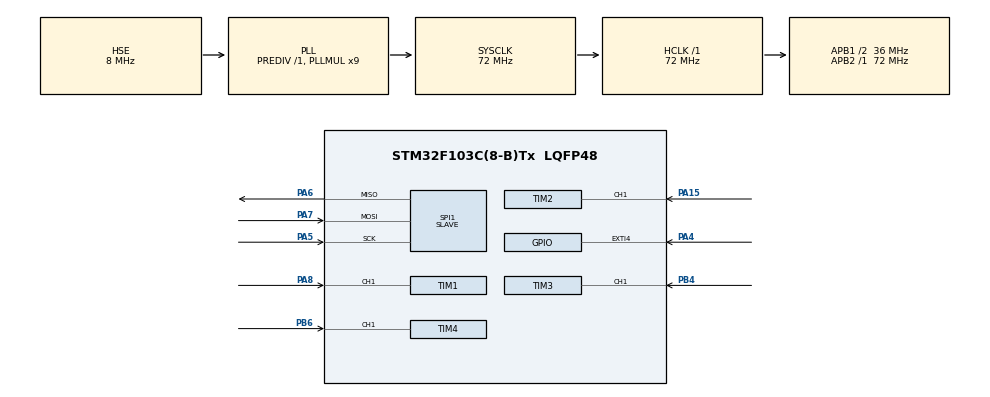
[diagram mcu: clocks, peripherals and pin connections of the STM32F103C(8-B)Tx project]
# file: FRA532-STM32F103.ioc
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Mcu.Family=STM32F1
Mcu.Name=STM32F103C(8-B)Tx
Mcu.Package=LQFP48
NVIC.EXTI4_IRQn=true\:0\:0\:false\:false\:true\:true\:true\:true
NVIC.PriorityGroup=NVIC_PRIORITYGROUP_4
NVIC.SPI1_IRQn=true\:0\:0\:false\:false\:true\:true\:true\:true
NVIC.TIM1_CC_IRQn=true\:0\:0\:false\:false\:true\:true\:true\:true
NVIC.TIM2_IRQn=true\:0\:0\:false\:false\:true\:true\:true\:true
NVIC.TIM3_IRQn=true\:0\:0\:false\:false\:true\:true\:true\:true
NVIC.TIM4_IRQn=true\:0\:0\:false\:false\:true\:true\:true\:true
PA13.Mode=Serial_Wire
PA13.Signal=SYS_JTMS-SWDIO
PA14.Mode=Serial_Wire
PA14.Signal=SYS_JTCK-SWCLK
PA15.Signal=S_TIM2_CH1_ETR
PA4.GPIO_ModeDefaultEXTI=GPIO_MODE_IT_RISING_FALLING
PA4.Signal=GPXTI4
PA5.Mode=Full_Duplex_Slave
PA5.Signal=SPI1_SCK
PA6.Mode=Full_Duplex_Slave
PA6.Signal=SPI1_MISO
PA7.Mode=Full_Duplex_Slave
PA7.Signal=SPI1_MOSI
PA8.Signal=S_TIM1_CH1
PB4.Signal=S_TIM3_CH1
PB6.Signal=S_TIM4_CH1
PC14-OSC32_IN.Mode=LSE-External-Oscillator
PC14-OSC32_IN.Signal=RCC_OSC32_IN
PC15-OSC32_OUT.Mode=LSE-External-Oscillator
PC15-OSC32_OUT.Signal=RCC_OSC32_OUT
PD0-OSC_IN.Mode=HSE-External-Oscillator
PD0-OSC_IN.Signal=RCC_OSC_IN
PD1-OSC_OUT.Mode=HSE-External-Oscillator
PD1-OSC_OUT.Signal=RCC_OSC_OUT
ProjectManager.HeapSize=0x200
ProjectManager.StackSize=0x400
ProjectManager.TargetToolchain=STM32CubeIDE
RCC.AHBFreq_Value=72000000
RCC.APB1CLKDivider=RCC_HCLK_DIV2
RCC.APB1Freq_Value=36000000
RCC.APB1TimFreq_Value=72000000
RCC.APB2Freq_Value=72000000
RCC.APB2TimFreq_Value=72000000
RCC.HCLKFreq_Value=72000000
RCC.PLLMUL=RCC_PLL_MUL9
RCC.PLLSourceVirtual=RCC_PLLSOURCE_HSE
RCC.SYSCLKFreq_VALUE=72000000
RCC.SYSCLKSource=RCC_SYSCLKSOURCE_PLLCLK
RCC.USBFreq_Value=72000000
SH.S_TIM1_CH1.0=TIM1_CH1,PWM_Input_1
SH.S_TIM2_CH1_ETR.0=TIM2_CH1,PWM_Input_1
SH.S_TIM3_CH1.0=TIM3_CH1,PWM_Input_1
SH.S_TIM4_CH1.0=TIM4_CH1,PWM_Input_1
SPI1.CLKPhase=SPI_PHASE_2EDGE
SPI1.CLKPolarity=SPI_POLARITY_HIGH
SPI1.CRCCalculation=SPI_CRCCALCULATION_DISABLE
SPI1.Direction=SPI_DIRECTION_2LINES
SPI1.Mode=SPI_MODE_SLAVE
SPI1.VirtualType=VM_SLAVE
TIM1.ICFilter_1=8
TIM1.ICFilter_2=8
TIM1.Period=1080-1
TIM1.Prescaler=72-1
TIM2.ICFilter_1=8
TIM2.ICFilter_2=8
TIM2.Period=1080-1
TIM2.Prescaler=72-1
TIM3.ICFilter_1=8
TIM3.ICFilter_2=8
TIM3.Period=1080-1
TIM3.Prescaler=72-1
TIM4.ICFilter_1=8
TIM4.ICFilter_2=8
TIM4.Period=1080-1
TIM4.Prescaler=72-1
VP_TIM1_VS_ClockSourceINT.Mode=Internal
VP_TIM2_VS_ClockSourceINT.Mode=Internal
VP_TIM3_VS_ClockSourceINT.Mode=Internal
VP_TIM4_VS_ClockSourceINT.Mode=Internal
board=custom

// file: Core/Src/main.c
/* USER CODE BEGIN Header */
/**
 ******************************************************************************
 * @file           : main.c
 * @brief          : Main program body
 ******************************************************************************
 * @attention
 *
 * Copyright (c) 2024 STMicroelectronics.
 * All rights reserved.
 *
 * This software is licensed under terms that can be found in the LICENSE file
 * in the root directory of this software component.
 * If no LICENSE file comes with this software, it is provided AS-IS.
 *
 ******************************************************************************
 */
/* USER CODE END Header */
#include "main.h"
#include "spi.h"
#include "tim.h"
#include "gpio.h"

/* USER CODE BEGIN PD */

#define M1_duty_offset 31
#define M2_duty_offset 31
#define M3_duty_offset 32
#define M4_duty_offset 31

#define M1_duty_max 1009.0
#define M2_duty_max 1005.0
#define M3_duty_max 1043.0
#define M4_duty_max 1015.0

/* USER CODE END PD */

/* USER CODE BEGIN PV */

uint16_t duty[4] = { 0 };
uint16_t last_duty[4] = { 0 };

int32_t counter[4] = { 0 };
float compensation[4] = { 1000.0 / M1_duty_max, 1000.0 / M2_duty_max, 1000.0 / M3_duty_max, 1000.0 / M4_duty_max };

uint8_t SPI_rx[12];
uint8_t SPI_tx[12];

uint8_t SPI_status = 0;

static uint32_t count;
HAL_StatusTypeDef status1;
HAL_StatusTypeDef status2;

/* USER CODE END PV */

void SystemClock_Config(void);

int main(void)
{

  /* MCU Configuration--------------------------------------------------------*/

  /* Reset of all peripherals, Initializes the Flash interface and the Systick. */
  HAL_Init();

  /* Configure the system clock */
  SystemClock_Config();

  /* Initialize all configured peripherals */
  MX_GPIO_Init();
  MX_TIM1_Init();
  MX_TIM2_Init();
  MX_TIM3_Init();
  MX_TIM4_Init();
  MX_SPI1_Init();
  /* USER CODE BEGIN 2 */

	HAL_TIM_IC_Start_IT(&htim1, TIM_CHANNEL_1);
	HAL_TIM_IC_Start(&htim1, TIM_CHANNEL_2);
	HAL_TIM_IC_Start_IT(&htim2, TIM_CHANNEL_1);
	HAL_TIM_IC_Start(&htim2, TIM_CHANNEL_2);
	HAL_TIM_IC_Start_IT(&htim3, TIM_CHANNEL_1);
	HAL_TIM_IC_Start(&htim3, TIM_CHANNEL_2);
	HAL_TIM_IC_Start_IT(&htim4, TIM_CHANNEL_1);
	HAL_TIM_IC_Start(&htim4, TIM_CHANNEL_2);

  /* USER CODE END 2 */

  /* Infinite loop */
  /* USER CODE BEGIN WHILE */
	while (1) {
//		status1 = HAL_SPI_Receive(&hspi1, (uint8_t*) &SPI_rx, 1, 10);
//		if (status1 == HAL_OK && SPI_rx[0] == 0b10100101) {
//			count++;
//			SPI_tx[0] = (uint8_t) count;
//			status2 = HAL_SPI_Transmit(&hspi1, (uint8_t*) &SPI_tx, 12, 100);
//		}

		if (SPI_status) {
			status1 = HAL_SPI_Receive(&hspi1, (uint8_t*) &SPI_rx, 1, 10);
			if (status1 == HAL_OK && SPI_rx[0] == 0b10100101) {
				count++;
				SPI_tx[0] = (uint8_t) count;
				for (uint8_t i = 1; i < 12; i++) {
					SPI_tx[i] = i;
				}
				status2 = HAL_SPI_Transmit(&hspi1, (uint8_t*) &SPI_tx, 12, 100);
			}
			SPI_status = 0;
		}

    /* USER CODE END WHILE */

	}
}

void SystemClock_Config(void)
{
  RCC_OscInitTypeDef RCC_OscInitStruct = {0};
  RCC_ClkInitTypeDef RCC_ClkInitStruct = {0};

  /** Initializes the RCC Oscillators according to the specified parameters
  * in the RCC_OscInitTypeDef structure.
  */
  RCC_OscInitStruct.OscillatorType = RCC_OSCILLATORTYPE_HSE;
  RCC_OscInitStruct.HSEState = RCC_HSE_ON;
  RCC_OscInitStruct.HSEPredivValue = RCC_HSE_PREDIV_DIV1;
  RCC_OscInitStruct.HSIState = RCC_HSI_ON;
  RCC_OscInitStruct.PLL.PLLState = RCC_PLL_ON;
  RCC_OscInitStruct.PLL.PLLSource = RCC_PLLSOURCE_HSE;
  RCC_OscInitStruct.PLL.PLLMUL = RCC_PLL_MUL9;
  if (HAL_RCC_OscConfig(&RCC_OscInitStruct) != HAL_OK)
  {
    Error_Handler();
  }

  /** Initializes the CPU, AHB and APB buses clocks
  */
  RCC_ClkInitStruct.ClockType = RCC_CLOCKTYPE_HCLK|RCC_CLOCKTYPE_SYSCLK
                              |RCC_CLOCKTYPE_PCLK1|RCC_CLOCKTYPE_PCLK2;
  RCC_ClkInitStruct.SYSCLKSource = RCC_SYSCLKSOURCE_PLLCLK;
  RCC_ClkInitStruct.AHBCLKDivider = RCC_SYSCLK_DIV1;
  RCC_ClkInitStruct.APB1CLKDivider = RCC_HCLK_DIV2;
  RCC_ClkInitStruct.APB2CLKDivider = RCC_HCLK_DIV1;

  if (HAL_RCC_ClockConfig(&RCC_ClkInitStruct, FLASH_LATENCY_2) != HAL_OK)
  {
    Error_Handler();
  }
}

/* USER CODE BEGIN 4 */

void HAL_GPIO_EXTI_Callback(uint16_t GPIO_Pin) {
	if (GPIO_Pin == GPIO_PIN_4) {
		if (HAL_GPIO_ReadPin(GPIOA, GPIO_PIN_4)) {
			SPI_status = 0;
		} else {
			SPI_status = 1;
		}
	}
}

void HAL_TIM_IC_CaptureCallback(TIM_HandleTypeDef *htim) {
	static uint8_t first_run = 0;

	if (htim->Channel == HAL_TIM_ACTIVE_CHANNEL_1) {
		// Read the IC value
		uint32_t ICValue = HAL_TIM_ReadCapturedValue(htim, TIM_CHANNEL_1);

		if (ICValue != 0) {
			// calculate the Duty Cycle
			uint32_t Duty = HAL_TIM_ReadCapturedValue(htim, TIM_CHANNEL_2);
			// Frequency = 72000000 / ICValue;

			if (htim->Instance == TIM1) {
				duty[0] = Duty - M1_duty_offset;
				int32_t delta = duty[0] - last_duty[0];
				if (delta > 500) {
					counter[0] -= delta - M1_duty_max;
				} else if (delta < -500) {
					counter[0] -= delta + M1_duty_max;
				} else {
					counter[0] -= delta;
				}
				last_duty[0] = duty[0];
			} else if (htim->Instance == TIM2) {
				duty[1] = Duty - M2_duty_offset;
				int32_t delta = duty[1] - last_duty[1];
				if (delta > 500) {
					counter[1] += delta - M2_duty_max;
				} else if (delta < -500) {
					counter[1] += delta + M2_duty_max;
				} else {
					counter[1] += delta;
				}
				last_duty[1] = duty[1];
			} else if (htim->Instance == TIM3) {
				duty[2] = Duty - M3_duty_offset;
				int32_t delta = duty[2] - last_duty[2];
				if (delta > 500) {
					counter[2] -= delta - M3_duty_max;
				} else if (delta < -500) {
					counter[2] -= delta + M3_duty_max;
				} else {
					counter[2] -= delta;
				}
				last_duty[2] = duty[2];
			} else if (htim->Instance == TIM4) {
				duty[3] = Duty - M4_duty_offset;
				int32_t delta = duty[3] - last_duty[3];
				if (delta > 500) {
					counter[3] += delta - M4_duty_max;
				} else if (delta < -500) {
					counter[3] += delta + M4_duty_max;
				} else {
					counter[3] += delta;
				}
				last_duty[3] = duty[3];
			}

			if (first_run == 126) {
				first_run = 127;
				counter[0] = 0;
				counter[1] = 0;
				counter[2] = 0;
				counter[3] = 0;
			} else if (first_run != 127) {
				first_run++;
			}
		}
	}
}

/* USER CODE END 4 */

void Error_Handler(void)
{
	__disable_irq();
	while (1) {
	}
}
